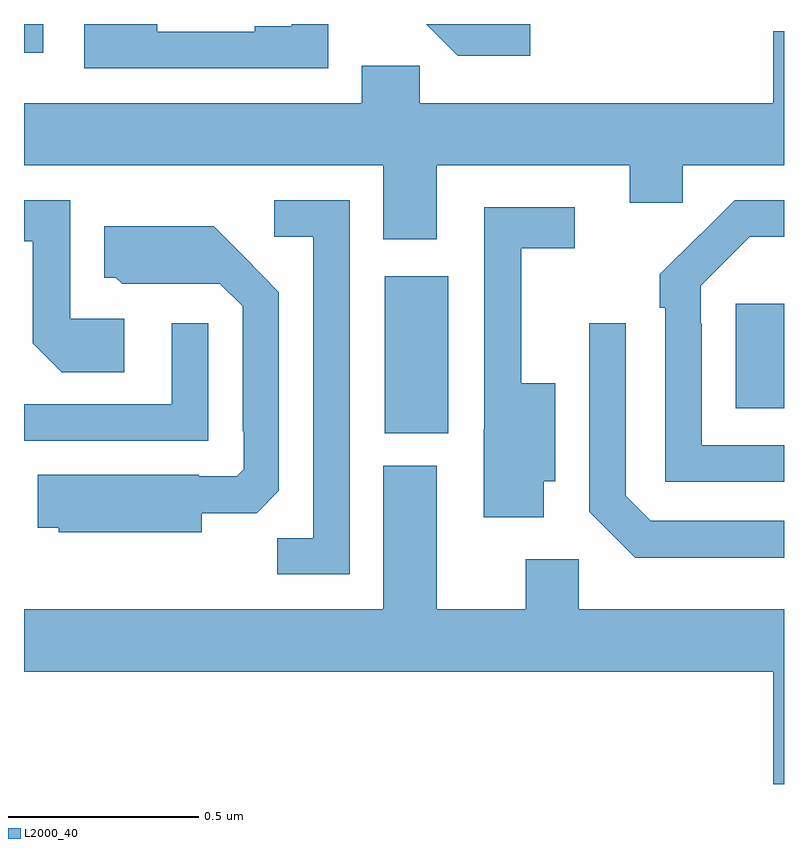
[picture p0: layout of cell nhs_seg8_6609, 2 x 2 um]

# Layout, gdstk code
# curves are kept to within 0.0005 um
import gdstk
lib = gdstk.Library(unit=1e-6, precision=1e-09)
def R(c, l, rs):  # rectangles x0, y0, x1, y1
    for r in rs: c.add(gdstk.rectangle(r[:2], r[2:], *l))
def P(c, l, *ps):  # polygons
    for p in ps: c.add(gdstk.Polygon(p, *l))
L2000_40 = (2000, 40)

nhs_seg8_6609 = lib.new_cell('nhs_seg8_6609')
R(nhs_seg8_6609, L2000_40, [(199.949,1087.823,200.116,1088.236), (200.873,1087.889,201,1088.164), (199,1088.825,199.051,1088.9)])
P(nhs_seg8_6609, L2000_40, [(200.332,1088.9),(200.059,1088.9),(200.142,1088.817),(200.332,1088.817)],
  [(199.8,1088.9),(199.704,1088.9),(199.704,1088.894),(199.607,1088.894),(199.607,1088.88),(199.351,1088.88),(199.351,1088.9),(199.158,1088.9),(199.158,1088.784),(199.8,1088.784)],
  [(200.086,1088.528),(200.594,1088.528),(200.594,1088.43),(200.733,1088.43),(200.733,1088.528),(201,1088.528),(201,1088.881),(200.972,1088.881),(200.972,1088.692),(200.041,1088.692),(200.041,1088.79),(199.889,1088.79),(199.889,1088.692),(199,1088.692),(199,1088.528),(199.946,1088.528),(199.946,1088.334),(200.086,1088.334)],
  [(201,1087.791),(200.784,1087.791),(200.784,1088.111),(200.781,1088.111),(200.781,1088.211),(200.91,1088.34),(201,1088.34),(201,1088.436),(200.87,1088.436),(200.779,1088.345),(200.778,1088.346),(200.673,1088.241),(200.673,1088.153),(200.688,1088.153),(200.688,1087.695),(201,1087.695)],
  [(199.264,1088.124),(199.122,1088.124),(199.122,1088.436),(199,1088.436),(199,1088.328),(199.023,1088.328),(199.023,1088.06),(199.099,1087.984),(199.264,1087.984)],
  [(199.857,1088.436),(199.659,1088.436),(199.659,1088.34),(199.761,1088.34),(199.761,1087.547),(199.666,1087.547),(199.666,1087.452),(199.857,1087.452)],
  [(200.368,1087.697),(200.398,1087.697),(200.398,1087.954),(200.309,1087.954),(200.309,1088.31),(200.449,1088.31),(200.449,1088.418),(200.211,1088.418),(200.211,1087.833),(200.21,1087.833),(200.21,1087.602),(200.368,1087.602)],
  [(199.468,1087.613),(199.612,1087.613),(199.671,1087.672),(199.671,1088.194),(199.499,1088.368),(199.211,1088.368),(199.211,1088.232),(199.242,1088.232),(199.258,1088.216),(199.392,1088.216),(199.392,1088.217),(199.515,1088.217),(199.575,1088.157),(199.575,1087.828),(199.578,1087.828),(199.578,1087.728),(199.56,1087.71),(199.46,1087.71),(199.46,1087.714),(199.036,1087.714),(199.036,1087.574),(199.092,1087.574),(199.092,1087.562),(199.468,1087.562)],
  [(199.485,1088.113),(199.389,1088.113),(199.389,1087.899),(199,1087.899),(199,1087.803),(199.485,1087.803)],
  [(201,1087.593),(200.649,1087.593),(200.583,1087.659),(200.583,1088.113),(200.487,1088.113),(200.487,1087.617),(200.608,1087.496),(201,1087.496)],
  [(201,1087.36),(200.46,1087.36),(200.46,1087.492),(200.321,1087.492),(200.321,1087.36),(200.086,1087.36),(200.086,1087.738),(199.946,1087.738),(199.946,1087.36),(199,1087.36),(199,1087.196),(200.972,1087.196),(200.972,1086.9),(201,1086.9)])

lib.write_gds('nhs_seg8_6609.gds')
